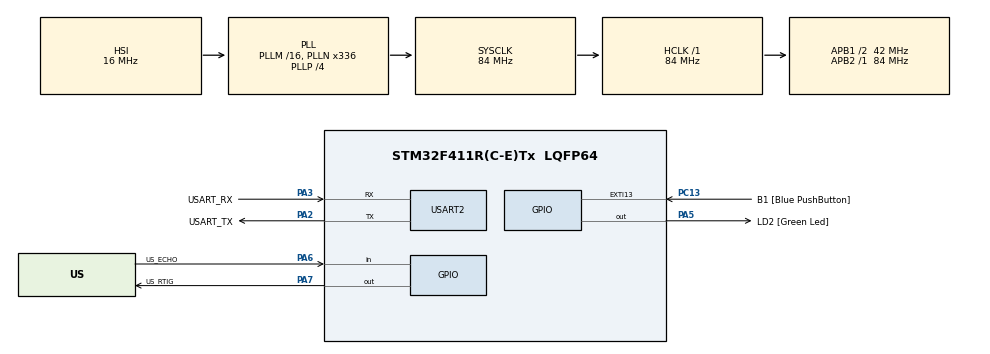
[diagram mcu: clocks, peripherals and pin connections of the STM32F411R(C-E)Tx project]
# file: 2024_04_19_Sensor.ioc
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Mcu.Family=STM32F4
Mcu.Name=STM32F411R(C-E)Tx
Mcu.Package=LQFP64
NVIC.PriorityGroup=NVIC_PRIORITYGROUP_0
PA13.GPIO_Label=TMS
PA13.Mode=Serial_Wire
PA13.Signal=SYS_JTMS-SWDIO
PA14.GPIO_Label=TCK
PA14.Mode=Serial_Wire
PA14.Signal=SYS_JTCK-SWCLK
PA2.GPIO_Label=USART_TX
PA2.Mode=Asynchronous
PA2.Signal=USART2_TX
PA3.GPIO_Label=USART_RX
PA3.Mode=Asynchronous
PA3.Signal=USART2_RX
PA5.GPIO_Label=LD2 [Green Led]
PA5.Signal=GPIO_Output
PA6.GPIO_Label=US_ECHO
PA6.Signal=GPIO_Input
PA7.GPIO_Label=US_RTIG
PA7.Signal=GPIO_Output
PB3.GPIO_Label=SWO
PB3.Signal=SYS_JTDO-SWO
PC13-ANTI_TAMP.GPIO_Label=B1 [Blue PushButton]
PC13-ANTI_TAMP.GPIO_ModeDefaultEXTI=GPIO_MODE_IT_FALLING
PC13-ANTI_TAMP.Signal=GPXTI13
PC14-OSC32_IN.Mode=LSE-External-Oscillator
PC14-OSC32_IN.Signal=RCC_OSC32_IN
PC15-OSC32_OUT.Mode=LSE-External-Oscillator
PC15-OSC32_OUT.Signal=RCC_OSC32_OUT
PH0\ -\ OSC_IN.Mode=HSE-External-Clock-Source
PH0\ -\ OSC_IN.Signal=RCC_OSC_IN
PH1\ -\ OSC_OUT.Mode=HSE-External-Clock-Source
PH1\ -\ OSC_OUT.Signal=RCC_OSC_OUT
ProjectManager.HeapSize=0x200
ProjectManager.StackSize=0x400
ProjectManager.TargetToolchain=STM32CubeIDE
RCC.48MHZClocksFreq_Value=84000000
RCC.AHBFreq_Value=84000000
RCC.APB1CLKDivider=RCC_HCLK_DIV2
RCC.APB1Freq_Value=42000000
RCC.APB1TimFreq_Value=84000000
RCC.APB2Freq_Value=84000000
RCC.APB2TimFreq_Value=84000000
RCC.CortexFreq_Value=84000000
RCC.FLatency-AdvancedSettings=FLASH_LATENCY_2
RCC.HCLKFreq_Value=84000000
RCC.HSE_VALUE=8000000
RCC.HSI_VALUE=16000000
RCC.PLLN=336
RCC.PLLP=RCC_PLLP_DIV4
RCC.SYSCLKFreq_VALUE=84000000
RCC.SYSCLKSource=RCC_SYSCLKSOURCE_PLLCLK
RCC.VCOOutputFreq_Value=336000000
TIM2.Period=4294967295
TIM2.Prescaler=84-1
USART2.VirtualMode=VM_ASYNC
VP_TIM2_VS_ClockSourceINT.Mode=Internal
board=NUCLEO-F411RE

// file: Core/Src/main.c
/* USER CODE BEGIN Header */
/**
  ******************************************************************************
  * @file           : main.c
  * @brief          : Main program body
  ******************************************************************************
  * @attention
  *
  * Copyright (c) 2024 STMicroelectronics.
  * All rights reserved.
  *
  * This software is licensed under terms that can be found in the LICENSE file
  * in the root directory of this software component.
  * If no LICENSE file comes with this software, it is provided AS-IS.
  *
  ******************************************************************************
  */
/* USER CODE END Header */
#include "main.h"

/* USER CODE BEGIN Includes */
#include "D:\PJH\Github_clone\Haman3rd_PJH\ARM Architecture\Common\myLib.h"
/* USER CODE END Includes */

TIM_HandleTypeDef htim2;

UART_HandleTypeDef huart2;

void SystemClock_Config(void);
static void MX_GPIO_Init(void);
static void MX_USART2_UART_Init(void);
static void MX_TIM2_Init(void);

/* USER CODE BEGIN 0 */
void usDelay(int us) // micro-second based Delay
{
   volatile uint32_t t1 = htim2.Instance->CNT;
   while((htim2.Instance->CNT -t1) < us);
}

double usDist(int n)
{
   int dt_sum = 0;
   for (int i = 0; i< n; i++)
   {

      HAL_GPIO_WritePin(TRIG_GPIO_Port, TRIG_Pin, 0);
      usDelay(10);
      HAL_GPIO_WritePin(TRIG_GPIO_Port, TRIG_Pin, 1);
      usDelay(10);
      HAL_GPIO_WritePin(TRIG_GPIO_Port, TRIG_Pin, 0);
      // Wait for burst
      usDelay(200);
      while(HAL_GPIO_ReadPin(ECHO_GPIO_Port, ECHO_Pin) !=1); //high
      //Start_count
      volatile uint32_t t1 = htim2.Instance->CNT;
      //Wait for Echo LOW
      while(HAL_GPIO_ReadPin(ECHO_GPIO_Port, ECHO_Pin) !=0); //low
      volatile uint32_t t2 = htim2.Instance->CNT;
      int dt = t2 - t1; //micro-second sonic speed
      dt_sum += dt;
      //double Dist = 0.000170 * dt;

      //printf("Distance : %f\r\n", Dist);
      usDelay(60000); //minimum delat for next time
         }

      double dt_avg = dt_sum / 5;
      double Dist = 0.0001715 * dt_avg;

    return Dist;
}

/* USER CODE END 0 */

int main(void)
{

  /* MCU Configuration--------------------------------------------------------*/

  /* Reset of all peripherals, Initializes the Flash interface and the Systick. */
  HAL_Init();

  /* Configure the system clock */
  SystemClock_Config();

  /* Initialize all configured peripherals */
  MX_GPIO_Init();
  MX_USART2_UART_Init();
  MX_TIM2_Init();
  /* USER CODE BEGIN 2 */
  ProgramStart();
  HAL_TIM_Base_Start(&htim2);
  /* USER CODE END 2 */

  /* Infinite loop */
  while (1)
  {

    /* USER CODE BEGIN 3 */
     // SR04 Trigger
     double Dist = usDist(5);
       int mt = (int)Dist;
       int cm = (Dist-mt)*100;
       if(mt) printf("Distance : %dm %dcm \r\n" ,mt, cm);
       else printf("Distance : %dcm \r\n", cm);

       HAL_Delay(500);
       /*
     printf("Current Timer count : %d\r\n", htim2.Instance->CNT);
     usDelay(1000);
     */
  }
  /* USER CODE END 3 */
}

void SystemClock_Config(void)
{
  RCC_OscInitTypeDef RCC_OscInitStruct = {0};
  RCC_ClkInitTypeDef RCC_ClkInitStruct = {0};

  /** Configure the main internal regulator output voltage
  */
  __HAL_RCC_PWR_CLK_ENABLE();
  __HAL_PWR_VOLTAGESCALING_CONFIG(PWR_REGULATOR_VOLTAGE_SCALE1);

  /** Initializes the RCC Oscillators according to the specified parameters
  * in the RCC_OscInitTypeDef structure.
  */
  RCC_OscInitStruct.OscillatorType = RCC_OSCILLATORTYPE_HSI;
  RCC_OscInitStruct.HSIState = RCC_HSI_ON;
  RCC_OscInitStruct.HSICalibrationValue = RCC_HSICALIBRATION_DEFAULT;
  RCC_OscInitStruct.PLL.PLLState = RCC_PLL_ON;
  RCC_OscInitStruct.PLL.PLLSource = RCC_PLLSOURCE_HSI;
  RCC_OscInitStruct.PLL.PLLM = 16;
  RCC_OscInitStruct.PLL.PLLN = 336;
  RCC_OscInitStruct.PLL.PLLP = RCC_PLLP_DIV4;
  RCC_OscInitStruct.PLL.PLLQ = 4;
  if (HAL_RCC_OscConfig(&RCC_OscInitStruct) != HAL_OK)
  {
    Error_Handler();
  }

  /** Initializes the CPU, AHB and APB buses clocks
  */
  RCC_ClkInitStruct.ClockType = RCC_CLOCKTYPE_HCLK|RCC_CLOCKTYPE_SYSCLK
                              |RCC_CLOCKTYPE_PCLK1|RCC_CLOCKTYPE_PCLK2;
  RCC_ClkInitStruct.SYSCLKSource = RCC_SYSCLKSOURCE_PLLCLK;
  RCC_ClkInitStruct.AHBCLKDivider = RCC_SYSCLK_DIV1;
  RCC_ClkInitStruct.APB1CLKDivider = RCC_HCLK_DIV2;
  RCC_ClkInitStruct.APB2CLKDivider = RCC_HCLK_DIV1;

  if (HAL_RCC_ClockConfig(&RCC_ClkInitStruct, FLASH_LATENCY_2) != HAL_OK)
  {
    Error_Handler();
  }
}

static void MX_TIM2_Init(void)
{

  TIM_ClockConfigTypeDef sClockSourceConfig = {0};
  TIM_MasterConfigTypeDef sMasterConfig = {0};

  htim2.Instance = TIM2;
  htim2.Init.Prescaler = 84-1;
  htim2.Init.CounterMode = TIM_COUNTERMODE_UP;
  htim2.Init.Period = 4294967295;
  htim2.Init.ClockDivision = TIM_CLOCKDIVISION_DIV1;
  htim2.Init.AutoReloadPreload = TIM_AUTORELOAD_PRELOAD_DISABLE;
  if (HAL_TIM_Base_Init(&htim2) != HAL_OK)
  {
    Error_Handler();
  }
  sClockSourceConfig.ClockSource = TIM_CLOCKSOURCE_INTERNAL;
  if (HAL_TIM_ConfigClockSource(&htim2, &sClockSourceConfig) != HAL_OK)
  {
    Error_Handler();
  }
  sMasterConfig.MasterOutputTrigger = TIM_TRGO_RESET;
  sMasterConfig.MasterSlaveMode = TIM_MASTERSLAVEMODE_DISABLE;
  if (HAL_TIMEx_MasterConfigSynchronization(&htim2, &sMasterConfig) != HAL_OK)
  {
    Error_Handler();
  }

}

static void MX_USART2_UART_Init(void)
{

  huart2.Instance = USART2;
  huart2.Init.BaudRate = 115200;
  huart2.Init.WordLength = UART_WORDLENGTH_8B;
  huart2.Init.StopBits = UART_STOPBITS_1;
  huart2.Init.Parity = UART_PARITY_NONE;
  huart2.Init.Mode = UART_MODE_TX_RX;
  huart2.Init.HwFlowCtl = UART_HWCONTROL_NONE;
  huart2.Init.OverSampling = UART_OVERSAMPLING_16;
  if (HAL_UART_Init(&huart2) != HAL_OK)
  {
    Error_Handler();
  }

}

static void MX_GPIO_Init(void)
{
  GPIO_InitTypeDef GPIO_InitStruct = {0};

  /* GPIO Ports Clock Enable */
  __HAL_RCC_GPIOC_CLK_ENABLE();
  __HAL_RCC_GPIOH_CLK_ENABLE();
  __HAL_RCC_GPIOA_CLK_ENABLE();
  __HAL_RCC_GPIOB_CLK_ENABLE();

  /*Configure GPIO pin Output Level */
  HAL_GPIO_WritePin(GPIOA, LD2_Pin|US_RTIG_Pin, GPIO_PIN_RESET);

  /*Configure GPIO pin : B1_Pin */
  GPIO_InitStruct.Pin = B1_Pin;
  GPIO_InitStruct.Mode = GPIO_MODE_IT_FALLING;
  GPIO_InitStruct.Pull = GPIO_NOPULL;
  HAL_GPIO_Init(B1_GPIO_Port, &GPIO_InitStruct);

  /*Configure GPIO pins : LD2_Pin US_RTIG_Pin */
  GPIO_InitStruct.Pin = LD2_Pin|US_RTIG_Pin;
  GPIO_InitStruct.Mode = GPIO_MODE_OUTPUT_PP;
  GPIO_InitStruct.Pull = GPIO_NOPULL;
  GPIO_InitStruct.Speed = GPIO_SPEED_FREQ_LOW;
  HAL_GPIO_Init(GPIOA, &GPIO_InitStruct);

  /*Configure GPIO pin : US_ECHO_Pin */
  GPIO_InitStruct.Pin = US_ECHO_Pin;
  GPIO_InitStruct.Mode = GPIO_MODE_INPUT;
  GPIO_InitStruct.Pull = GPIO_NOPULL;
  HAL_GPIO_Init(US_ECHO_GPIO_Port, &GPIO_InitStruct);

}

void Error_Handler(void)
{
  __disable_irq();
  while (1)
  {
  }
}
